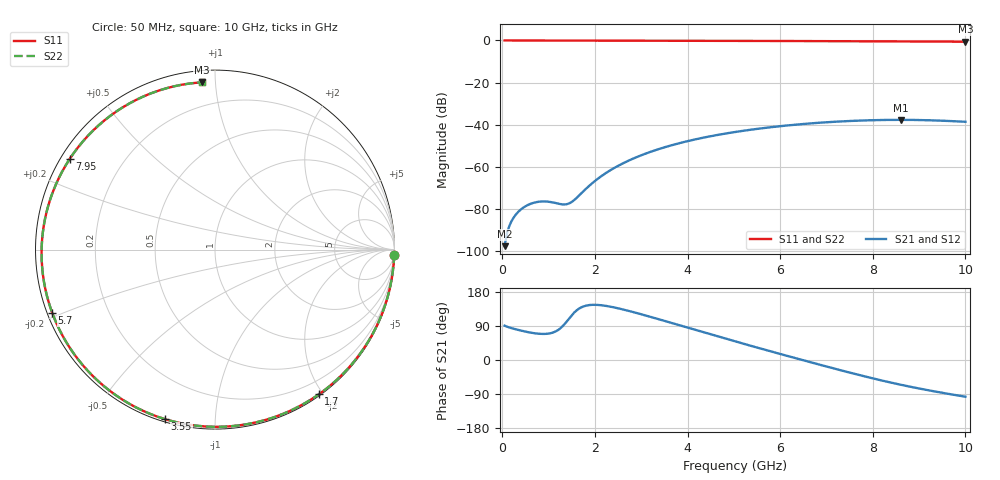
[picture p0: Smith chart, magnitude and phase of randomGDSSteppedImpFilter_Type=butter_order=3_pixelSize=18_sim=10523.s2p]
! freq	dB(S11)	phase(S11)	dB(S12)	phase(S12)
!  dB(S21)	phase(S21)	dB(S22)	phase(S22)
!S-par simulation data
#  GHz  S  DB  R 50
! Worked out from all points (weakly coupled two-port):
!   200 points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, 50 MHz to 10 GHz, reference 50 ohm
!   highest |S21| = -37.68 dB at 8.6 GHz (marker M1); lowest = -97.6 dB at 50 MHz (marker M2)
!   lowest |S11| = -0.6 dB at 10 GHz (marker M3), VSWR 29.63, Z = 3.13 + j46.2 ohm
!   |S11| at or under -10 dB: nowhere
!   |S22| runs from -0.6 to 0.0 dB; largest |S21 - S12| = 0
!   S11 on the Smith chart (normalised r, x): 50 MHz: 1, -72; 1.7 GHz: 0.02, -1.95; 3.55 GHz: 0.01, -0.75; 5.7 GHz: 0.01, -0.19; 7.95 GHz: 0.03, +0.29; 10 GHz: 0.06, +0.92
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0.05  -0.00 -1.6  -97.62 90.7  -97.62 90.7  -0.00 -1.6
0.4  -0.02 -13.1  -80.22 77.7  -80.22 77.7  -0.02 -13.1
0.6  -0.03 -19.6  -77.62 72.5  -77.62 72.5  -0.03 -19.6
0.85  -0.04 -27.7  -76.43 68.8  -76.43 68.8  -0.04 -27.7
1.4  -0.06 -45.1  -77.66 102.9  -77.66 102.9  -0.06 -45.1
1.5  -0.06 -48.2  -76.63 118.1  -76.63 118.1  -0.06 -48.2
1.7  -0.07 -54.3  -72.68 138.6  -72.68 138.6  -0.07 -54.3
1.75  -0.07 -55.8  -71.60 141.2  -71.60 141.2  -0.07 -55.8
2.1  -0.08 -66.3  -65.01 145.0  -65.01 145.0  -0.08 -66.3
2.45  -0.09 -76.4  -60.11 137.8  -60.11 137.8  -0.09 -76.4
3.4  -0.13 -102.5  -51.40 106.8  -51.40 106.8  -0.13 -102.5
3.55  -0.13 -106.4  -50.40 101.5  -50.40 101.5  -0.13 -106.4
4.25  -0.16 -124.2  -46.55 76.5  -46.55 76.5  -0.16 -124.1
5.05  -0.20 -143.5  -43.36 48.4  -43.36 48.4  -0.20 -143.5
5.7  -0.24 -158.8  -41.43 26.1  -41.43 26.1  -0.24 -158.8
6.7  -0.31 177.9  -39.29 -7.3  -39.29 -7.3  -0.31 178.0
7.3  -0.35 163.8  -38.44 -26.9  -38.44 -26.9  -0.35 163.8
7.95  -0.41 148.1  -37.87 -47.0  -37.87 -47.0  -0.41 148.1
8.35  -0.44 138.2  -37.71 -58.5  -37.71 -58.5  -0.44 138.2
8.6  -0.46 131.9  -37.68 -65.2  -37.68 -65.2  -0.46 131.9
9.35  -0.53 112.2  -37.97 -83.3  -37.97 -83.3  -0.53 112.2
10  -0.59 94.4  -38.59 -97.0  -38.59 -97.0  -0.59 94.4
